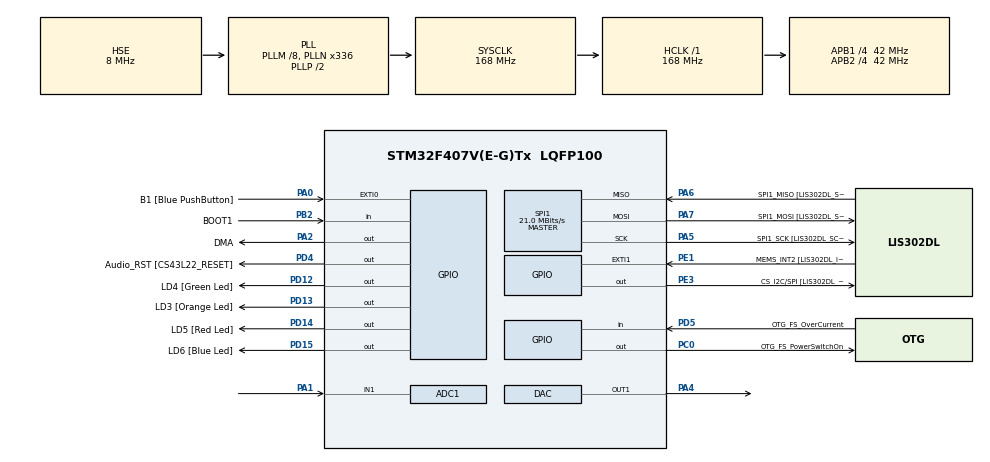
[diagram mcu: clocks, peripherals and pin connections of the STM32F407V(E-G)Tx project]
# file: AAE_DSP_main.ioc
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ADC1.Channel-0\#ChannelRegularConversion=ADC_CHANNEL_1
ADC1.ClockPrescaler=ADC_CLOCK_SYNC_PCLK_DIV2
ADC1.ContinuousConvMode=DISABLE
ADC1.DMAContinuousRequests=ENABLE
ADC1.EOCSelection=ADC_EOC_SINGLE_CONV
ADC1.ExternalTrigConv=ADC_EXTERNALTRIGCONV_T3_TRGO
ADC1.NbrOfConversionFlag=1
ADC1.Rank-0\#ChannelRegularConversion=1
ADC1.SamplingTime-0\#ChannelRegularConversion=ADC_SAMPLETIME_3CYCLES
ADC1.ScanConvMode=DISABLE
ADC1.master=1
Dma.ADC1.0.Direction=DMA_PERIPH_TO_MEMORY
Dma.ADC1.0.FIFOMode=DMA_FIFOMODE_DISABLE
Dma.ADC1.0.Instance=DMA2_Stream0
Dma.ADC1.0.MemDataAlignment=DMA_MDATAALIGN_HALFWORD
Dma.ADC1.0.MemInc=DMA_MINC_ENABLE
Dma.ADC1.0.Mode=DMA_CIRCULAR
Dma.ADC1.0.PeriphDataAlignment=DMA_PDATAALIGN_HALFWORD
Dma.ADC1.0.PeriphInc=DMA_PINC_DISABLE
Dma.ADC1.0.Priority=DMA_PRIORITY_LOW
Dma.Request0=ADC1
Mcu.Family=STM32F4
Mcu.Name=STM32F407V(E-G)Tx
Mcu.Package=LQFP100
NVIC.DMA2_Stream0_IRQn=true\:0\:0\:false\:false\:true\:false\:true
NVIC.PriorityGroup=NVIC_PRIORITYGROUP_0
NVIC.TIM2_IRQn=true\:0\:0\:false\:false\:true\:true\:true
PA0-WKUP.GPIO_Label=B1 [Blue PushButton]
PA0-WKUP.GPIO_ModeDefaultEXTI=GPIO_MODE_EVT_RISING
PA0-WKUP.GPIO_PuPd=GPIO_NOPULL
PA0-WKUP.Signal=GPXTI0
PA1.Signal=ADCx_IN1
PA10.GPIO_Label=OTG_FS_ID
PA10.GPIO_Mode=GPIO_MODE_AF_PP
PA10.GPIO_PuPd=GPIO_NOPULL
PA10.GPIO_Speed=GPIO_SPEED_FREQ_LOW
PA10.Signal=USB_OTG_FS_ID
PA11.GPIO_Label=OTG_FS_DM
PA11.GPIO_Mode=GPIO_MODE_AF_PP
PA11.GPIO_PuPd=GPIO_NOPULL
PA11.GPIO_Speed=GPIO_SPEED_FREQ_LOW
PA11.Signal=USB_OTG_FS_DM
PA12.GPIO_Label=OTG_FS_DP
PA12.GPIO_Mode=GPIO_MODE_AF_PP
PA12.GPIO_PuPd=GPIO_NOPULL
PA12.GPIO_Speed=GPIO_SPEED_FREQ_LOW
PA12.Signal=USB_OTG_FS_DP
PA13.GPIO_Label=SWDIO
PA13.Mode=Serial_Wire
PA13.Signal=SYS_JTMS-SWDIO
PA14.GPIO_Label=SWCLK
PA14.Mode=Serial_Wire
PA14.Signal=SYS_JTCK-SWCLK
PA2.GPIO_Label=DMA
PA2.Signal=GPIO_Output
PA4.Signal=COMP_DAC1_group
PA5.GPIO_Label=SPI1_SCK [LIS302DL_SCL/SPC]
PA5.GPIO_Mode=GPIO_MODE_AF_PP
PA5.GPIO_PuPd=GPIO_NOPULL
PA5.GPIO_Speed=GPIO_SPEED_FREQ_LOW
PA5.Mode=Full_Duplex_Master
PA5.Signal=SPI1_SCK
PA6.GPIO_Label=SPI1_MISO [LIS302DL_SDO]
PA6.GPIO_Mode=GPIO_MODE_AF_PP
PA6.GPIO_PuPd=GPIO_NOPULL
PA6.GPIO_Speed=GPIO_SPEED_FREQ_LOW
PA6.Mode=Full_Duplex_Master
PA6.Signal=SPI1_MISO
PA7.GPIO_Label=SPI1_MOSI [LIS302DL_SDA/SDI/SDO]
PA7.GPIO_Mode=GPIO_MODE_AF_PP
PA7.GPIO_PuPd=GPIO_NOPULL
PA7.GPIO_Speed=GPIO_SPEED_FREQ_LOW
PA7.Mode=Full_Duplex_Master
PA7.Signal=SPI1_MOSI
PA9.GPIO_Label=VBUS_FS
PA9.GPIO_Mode=GPIO_MODE_INPUT
PA9.GPIO_PuPd=GPIO_NOPULL
PA9.Signal=USB_OTG_FS_VBUS
PB10.GPIO_Label=CLK_IN [MP45DT02_CLK]
PB10.GPIO_Mode=GPIO_MODE_AF_PP
PB10.GPIO_PuPd=GPIO_NOPULL
PB10.GPIO_Speed=GPIO_SPEED_FREQ_LOW
PB10.Signal=I2S2_CK
PB2.GPIO_Label=BOOT1
PB2.GPIO_Mode=GPIO_MODE_INPUT
PB2.GPIO_PuPd=GPIO_NOPULL
PB2.Signal=GPIO_Input
PB3.GPIO_Label=SWO
PB3.Signal=SYS_JTDO-SWO
PB6.GPIO_Label=Audio_SCL [CS43L22_SCL]
PB6.GPIO_Mode=GPIO_MODE_AF_OD
PB6.GPIO_PuPd=GPIO_NOPULL
PB6.GPIO_Speed=GPIO_SPEED_FREQ_LOW
PB6.Signal=I2C1_SCL
PB9.GPIO_Label=Audio_SDA [CS43L22_SDA]
PB9.GPIO_Mode=GPIO_MODE_AF_OD
PB9.GPIO_PuPd=GPIO_NOPULL
PB9.GPIO_Speed=GPIO_SPEED_FREQ_LOW
PB9.Signal=I2C1_SDA
PC0.GPIO_Label=OTG_FS_PowerSwitchOn
PC0.GPIO_PuPd=GPIO_NOPULL
PC0.GPIO_Speed=GPIO_SPEED_FREQ_LOW
PC0.PinState=GPIO_PIN_SET
PC0.Signal=GPIO_Output
PC10.GPIO_Label=I2S3_SCK [CS43L22_SCLK]
PC10.GPIO_Mode=GPIO_MODE_AF_PP
PC10.GPIO_PuPd=GPIO_NOPULL
PC10.GPIO_Speed=GPIO_SPEED_FREQ_LOW
PC10.Signal=I2S3_CK
PC12.GPIO_Label=I2S3_SD [CS43L22_SDIN]
PC12.GPIO_Mode=GPIO_MODE_AF_PP
PC12.GPIO_PuPd=GPIO_NOPULL
PC12.GPIO_Speed=GPIO_SPEED_FREQ_LOW
PC12.Signal=I2S3_SD
PC14-OSC32_IN.GPIO_Label=PC14-OSC32_IN
PC14-OSC32_IN.Mode=LSE-External-Oscillator
PC14-OSC32_IN.Signal=RCC_OSC32_IN
PC15-OSC32_OUT.GPIO_Label=PC15-OSC32_OUT
PC15-OSC32_OUT.Mode=LSE-External-Oscillator
PC15-OSC32_OUT.Signal=RCC_OSC32_OUT
PC3.GPIO_Label=PDM_OUT [MP45DT02_DOUT]
PC3.GPIO_Mode=GPIO_MODE_AF_PP
PC3.GPIO_PuPd=GPIO_NOPULL
PC3.GPIO_Speed=GPIO_SPEED_FREQ_LOW
PC3.Signal=I2S2_SD
PC7.GPIO_Label=I2S3_MCK [CS43L22_MCLK]
PC7.GPIO_Mode=GPIO_MODE_AF_PP
PC7.GPIO_PuPd=GPIO_NOPULL
PC7.GPIO_Speed=GPIO_SPEED_FREQ_LOW
PC7.Signal=I2S3_MCK
PD12.GPIO_Label=LD4 [Green Led]
PD12.GPIO_PuPd=GPIO_NOPULL
PD12.GPIO_Speed=GPIO_SPEED_FREQ_LOW
PD12.Signal=GPIO_Output
PD13.GPIO_Label=LD3 [Orange Led]
PD13.GPIO_PuPd=GPIO_NOPULL
PD13.GPIO_Speed=GPIO_SPEED_FREQ_LOW
PD13.Signal=GPIO_Output
PD14.GPIO_Label=LD5 [Red Led]
PD14.GPIO_PuPd=GPIO_NOPULL
PD14.GPIO_Speed=GPIO_SPEED_FREQ_LOW
PD14.Signal=GPIO_Output
PD15.GPIO_Label=LD6 [Blue Led]
PD15.GPIO_PuPd=GPIO_NOPULL
PD15.GPIO_Speed=GPIO_SPEED_FREQ_LOW
PD15.Signal=GPIO_Output
PD4.GPIO_Label=Audio_RST [CS43L22_RESET]
PD4.GPIO_PuPd=GPIO_NOPULL
PD4.GPIO_Speed=GPIO_SPEED_FREQ_LOW
PD4.Signal=GPIO_Output
PD5.GPIO_Label=OTG_FS_OverCurrent
PD5.GPIO_Mode=GPIO_MODE_INPUT
PD5.GPIO_PuPd=GPIO_NOPULL
PD5.Signal=GPIO_Input
PE1.GPIO_Label=MEMS_INT2 [LIS302DL_INT2]
PE1.GPIO_ModeDefaultEXTI=GPIO_MODE_EVT_RISING
PE1.GPIO_PuPd=GPIO_NOPULL
PE1.Signal=GPXTI1
PE3.GPIO_Label=CS_I2C/SPI [LIS302DL_CS_I2C/SPI]
PE3.GPIO_PuPd=GPIO_NOPULL
PE3.GPIO_Speed=GPIO_SPEED_FREQ_LOW
PE3.Signal=GPIO_Output
PH0-OSC_IN.GPIO_Label=PH0-OSC_IN
PH0-OSC_IN.Mode=HSE-External-Oscillator
PH0-OSC_IN.Signal=RCC_OSC_IN
PH1-OSC_OUT.GPIO_Label=PH1-OSC_OUT
PH1-OSC_OUT.Mode=HSE-External-Oscillator
PH1-OSC_OUT.Signal=RCC_OSC_OUT
ProjectManager.HeapSize=0x200
ProjectManager.StackSize=0x400
ProjectManager.TargetToolchain=STM32CubeIDE
RCC.48MHZClocksFreq_Value=48000000
RCC.AHBFreq_Value=168000000
RCC.APB1CLKDivider=RCC_HCLK_DIV4
RCC.APB1Freq_Value=42000000
RCC.APB1TimFreq_Value=84000000
RCC.APB2CLKDivider=RCC_HCLK_DIV4
RCC.APB2Freq_Value=42000000
RCC.APB2TimFreq_Value=84000000
RCC.CortexFreq_Value=168000000
RCC.HCLKFreq_Value=168000000
RCC.HSE_VALUE=8000000
RCC.HSI_VALUE=16000000
RCC.PLLM=8
RCC.PLLN=336
RCC.PLLQ=7
RCC.PLLSourceVirtual=RCC_PLLSOURCE_HSE
RCC.SYSCLKFreq_VALUE=168000000
RCC.SYSCLKSource=RCC_SYSCLKSOURCE_PLLCLK
RCC.VCOOutputFreq_Value=336000000
SH.ADCx_IN1.0=ADC1_IN1,IN1
SH.COMP_DAC1_group.0=DAC_OUT1,DAC_OUT1
SPI1.BaudRatePrescaler=SPI_BAUDRATEPRESCALER_2
SPI1.BaudRatePrescaler-Full_Duplex_Master=SPI_BAUDRATEPRESCALER_2
SPI1.CalculateBaudRate=21.0 MBits/s
SPI1.CalculateBaudRate-Full_Duplex_Master=42.0 MBits/s
SPI1.Direction=SPI_DIRECTION_2LINES
SPI1.Mode=SPI_MODE_MASTER
SPI1.Mode-Full_Duplex_Master=SPI_MODE_MASTER
SPI1.VirtualType=VM_MASTER
TIM2.AutoReloadPreload=TIM_AUTORELOAD_PRELOAD_ENABLE
TIM2.Period=839
TIM2.Prescaler=0
TIM2.TIM_MasterOutputTrigger=TIM_TRGO_UPDATE
TIM3.AutoReloadPreload=TIM_AUTORELOAD_PRELOAD_ENABLE
TIM3.CounterMode=TIM_COUNTERMODE_UP
TIM3.Period=104
TIM3.Prescaler=0
TIM3.TIM_MasterOutputTrigger=TIM_TRGO_UPDATE
VP_TIM2_VS_ClockSourceINT.Mode=Internal
VP_TIM3_VS_ClockSourceINT.Mode=Internal
board=STM32F407G-DISC1

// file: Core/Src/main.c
/* USER CODE BEGIN Header */
/*
  ******************************************************************************
  * @file           : main.c
  * @brief          : Main program body
  ******************************************************************************
  * @attention
  *
  * <h2><center>&copy; Copyright (c) 2020 STMicroelectronics.
  * All rights reserved.</center></h2>
  *
  * This software component is licensed by ST under Ultimate Liberty license
  * SLA0044, the "License"; You may not use this file except in compliance with
  * the License. You may obtain a copy of the License at:
  *                             www.st.com/SLA0044
  *
  ******************************************************************************
  */

/* USER CODE END Header */
#include "main.h"

ADC_HandleTypeDef hadc1;
DMA_HandleTypeDef hdma_adc1;

DAC_HandleTypeDef hdac;

SPI_HandleTypeDef hspi1;

TIM_HandleTypeDef htim2;
TIM_HandleTypeDef htim3;

void SystemClock_Config(void);
static void MX_GPIO_Init(void);
static void MX_DMA_Init(void);
static void MX_SPI1_Init(void);
static void MX_ADC1_Init(void);
static void MX_TIM3_Init(void);
static void MX_DAC_Init(void);
static void MX_TIM2_Init(void);
/* USER CODE BEGIN PFP */

#define DDS_BUF_LEN 1024
const uint16_t ddsBuf[DDS_BUF_LEN]=
{
		2048,2060,2073,2085,2098,2110,2123,2135,
		2148,2161,2173,2186,2198,2211,2223,2236,
		2248,2261,2273,2286,2298,2311,2323,2335,
		2348,2360,2373,2385,2398,2410,2422,2435,
		2447,2459,2472,2484,2496,2508,2521,2533,
		2545,2557,2569,2581,2594,2606,2618,2630,
		2642,2654,2666,2678,2690,2702,2714,2725,
		2737,2749,2761,2773,2784,2796,2808,2819,
		2831,2843,2854,2866,2877,2889,2900,2912,
		2923,2934,2946,2957,2968,2979,2990,3002,
		3013,3024,3035,3046,3057,3068,3078,3089,
		3100,3111,3122,3132,3143,3154,3164,3175,
		3185,3195,3206,3216,3226,3237,3247,3257,
		3267,3277,3287,3297,3307,3317,3327,3337,
		3346,3356,3366,3375,3385,3394,3404,3413,
		3423,3432,3441,3450,3459,3468,3477,3486,
		3495,3504,3513,3522,3530,3539,3548,3556,
		3565,3573,3581,3590,3598,3606,3614,3622,
		3630,3638,3646,3654,3662,3669,3677,3685,
		3692,3700,3707,3714,3722,3729,3736,3743,
		3750,3757,3764,3771,3777,3784,3791,3797,
		3804,3810,3816,3823,3829,3835,3841,3847,
		3853,3859,3865,3871,3876,3882,3888,3893,
		3898,3904,3909,3914,3919,3924,3929,3934,
		3939,3944,3949,3953,3958,3962,3967,3971,
		3975,3980,3984,3988,3992,3996,3999,4003,
		4007,4010,4014,4017,4021,4024,4027,4031,
		4034,4037,4040,4042,4045,4048,4051,4053,
		4056,4058,4060,4063,4065,4067,4069,4071,
		4073,4075,4076,4078,4080,4081,4083,4084,
		4085,4086,4087,4088,4089,4090,4091,4092,
		4093,4093,4094,4094,4094,4095,4095,4095,
		4095,4095,4095,4095,4094,4094,4094,4093,
		4093,4092,4091,4090,4089,4088,4087,4086,
		4085,4084,4083,4081,4080,4078,4076,4075,
		4073,4071,4069,4067,4065,4063,4060,4058,
		4056,4053,4051,4048,4045,4042,4040,4037,
		4034,4031,4027,4024,4021,4017,4014,4010,
		4007,4003,3999,3996,3992,3988,3984,3980,
		3975,3971,3967,3962,3958,3953,3949,3944,
		3939,3934,3929,3924,3919,3914,3909,3904,
		3898,3893,3888,3882,3876,3871,3865,3859,
		3853,3847,3841,3835,3829,3823,3816,3810,
		3804,3797,3791,3784,3777,3771,3764,3757,
		3750,3743,3736,3729,3722,3714,3707,3700,
		3692,3685,3677,3669,3662,3654,3646,3638,
		3630,3622,3614,3606,3598,3590,3581,3573,
		3565,3556,3548,3539,3530,3522,3513,3504,
		3495,3486,3477,3468,3459,3450,3441,3432,
		3423,3413,3404,3394,3385,3375,3366,3356,
		3346,3337,3327,3317,3307,3297,3287,3277,
		3267,3257,3247,3237,3226,3216,3206,3195,
		3185,3175,3164,3154,3143,3132,3122,3111,
		3100,3089,3078,3068,3057,3046,3035,3024,
		3013,3002,2990,2979,2968,2957,2946,2934,
		2923,2912,2900,2889,2877,2866,2854,2843,
		2831,2819,2808,2796,2784,2773,2761,2749,
		2737,2725,2714,2702,2690,2678,2666,2654,
		2642,2630,2618,2606,2594,2581,2569,2557,
		2545,2533,2521,2508,2496,2484,2472,2459,
		2447,2435,2422,2410,2398,2385,2373,2360,
		2348,2335,2323,2311,2298,2286,2273,2261,
		2248,2236,2223,2211,2198,2186,2173,2161,
		2148,2135,2123,2110,2098,2085,2073,2060,
		2048,2035,2022,2010,1997,1985,1972,1960,
		1947,1934,1922,1909,1897,1884,1872,1859,
		1847,1834,1822,1809,1797,1784,1772,1760,
		1747,1735,1722,1710,1697,1685,1673,1660,
		1648,1636,1623,1611,1599,1587,1574,1562,
		1550,1538,1526,1514,1501,1489,1477,1465,
		1453,1441,1429,1417,1405,1393,1381,1370,
		1358,1346,1334,1322,1311,1299,1287,1276,
		1264,1252,1241,1229,1218,1206,1195,1183,
		1172,1161,1149,1138,1127,1116,1105,1093,
		1082,1071,1060,1049,1038,1027,1017,1006,
		995,984,973,963,952,941,931,920,
		910,900,889,879,869,858,848,838,
		828,818,808,798,788,778,768,758,
		749,739,729,720,710,701,691,682,
		672,663,654,645,636,627,618,609,
		600,591,582,573,565,556,547,539,
		530,522,514,505,497,489,481,473,
		465,457,449,441,433,426,418,410,
		403,395,388,381,373,366,359,352,
		345,338,331,324,318,311,304,298,
		291,285,279,272,266,260,254,248,
		242,236,230,224,219,213,207,202,
		197,191,186,181,176,171,166,161,
		156,151,146,142,137,133,128,124,
		120,115,111,107,103,99,96,92,
		88,85,81,78,74,71,68,64,
		61,58,55,53,50,47,44,42,
		39,37,35,32,30,28,26,24,
		22,20,19,17,15,14,12,11,
		10,9,8,7,6,5,4,3,
		2,2,1,1,1,0,0,0,
		0,0,0,0,1,1,1,2,
		2,3,4,5,6,7,8,9,
		10,11,12,14,15,17,19,20,
		22,24,26,28,30,32,35,37,
		39,42,44,47,50,53,55,58,
		61,64,68,71,74,78,81,85,
		88,92,96,99,103,107,111,115,
		120,124,128,133,137,142,146,151,
		156,161,166,171,176,181,186,191,
		197,202,207,213,219,224,230,236,
		242,248,254,260,266,272,279,285,
		291,298,304,311,318,324,331,338,
		345,352,359,366,373,381,388,395,
		403,410,418,426,433,441,449,457,
		465,473,481,489,497,505,514,522,
		530,539,547,556,565,573,582,591,
		600,609,618,627,636,645,654,663,
		672,682,691,701,710,720,729,739,
		749,758,768,778,788,798,808,818,
		828,838,848,858,869,879,889,900,
		910,920,931,941,952,963,973,984,
		995,1006,1017,1027,1038,1049,1060,1071,
		1082,1093,1105,1116,1127,1138,1149,1161,
		1172,1183,1195,1206,1218,1229,1241,1252,
		1264,1276,1287,1299,1311,1322,1334,1346,
		1358,1370,1381,1393,1405,1417,1429,1441,
		1453,1465,1477,1489,1501,1514,1526,1538,
		1550,1562,1574,1587,1599,1611,1623,1636,
		1648,1660,1673,1685,1697,1710,1722,1735,
		1747,1760,1772,1784,1797,1809,1822,1834,
		1847,1859,1872,1884,1897,1909,1922,1934,
		1947,1960,1972,1985,1997,2010,2022,2035,
};

#define ADC_BUFFER_LEN 16
  uint16_t adcBuffer[ADC_BUFFER_LEN];
  uint16_t adcOVS = 0;

/* USER CODE END PFP */

/* USER CODE BEGIN 0 */
#define FILTER_N 4

#define REG_SIZE FILTER_N+1

  float DenomCoeff[REG_SIZE]={1.00000,  -3.70519,   5.18030,  -3.24090,   0.76601};
  float NomCoeff[REG_SIZE]={ 0.007820,   0.000000,  -0.015640,   0.000000,   0.007820};

  //float DenomCoeff[REG_SIZE]={1.00000,  -2.74884,   2.52823,  -0.77764};
  //float NomCoeff[REG_SIZE]={0.00021961,   0.00065882,   0.00065882,   0.00021961};
  float RegX[REG_SIZE], RegY[REG_SIZE],CenterTap;

  float runIIR( float Signal){

	  int k;

	  for(k = FILTER_N;k>0;k--)RegX[k]=RegX[k-1];
	  for(k = FILTER_N;k>0;k--)RegY[k]=RegY[k-1];

	  RegX[0]=Signal;

	  CenterTap=NomCoeff[0]*RegX[0];

	  for(k=1;k<=FILTER_N;k++){

		  CenterTap+=NomCoeff[k]*RegX[k]-DenomCoeff[k]*RegY[k];

	  }

	  RegY[0]=CenterTap;
	  return RegY[0];

	  //return Signal;

  }

  void HAL_ADC_ConvCpltCallback(ADC_HandleTypeDef* hadc){

	  //HAL_GPIO_TogglePin(DMA_GPIO_Port, DMA_Pin);

  		for(int i=0; i<ADC_BUFFER_LEN; i++){
  			adcOVS += adcBuffer[i];
  		}

  		adcOVS /= ADC_BUFFER_LEN;

  		float val = adcOVS;
  		val=val-2048.0f;

  		float input =runIIR( val);
  		input+=2048.0f;
  		uint16_t toDAC= input;

  		HAL_DAC_SetValue(&hdac, DAC_CHANNEL_1, DAC_ALIGN_12B_R,toDAC);

	  HAL_GPIO_TogglePin(DMA_GPIO_Port, DMA_Pin);

  }

#define FS 100e3
#define ddsFreq 5.0e3

  uint16_t sample=0;
  float FMphaseShift=0;
 // float ddsPhaseAccu=0;

  void tim2Interrupt(void){

	  const uint8_t AMon=0;
	  const uint8_t FMon=0;

	  static float ddsPhaseAccu=0;

	  float factor= adcOVS; // ADC input
	  float ddsStep=0.0f;
	  if (AMon){

		  factor=factor/4095.0f;   // modulation signal standarization
		  ddsStep=(ddsFreq)*(DDS_BUF_LEN/FS); // dds step
		  ddsPhaseAccu+=ddsStep;

		  if(ddsPhaseAccu>=DDS_BUF_LEN){
			  ddsPhaseAccu-=DDS_BUF_LEN;
		  }

		  sample=(uint16_t)ddsPhaseAccu;
		  float tmpSample=ddsBuf[sample];

		  	  	  tmpSample=((tmpSample-2048.0f)*factor)+2048.0f; // apply amplitude
		  	  	  uint16_t val=tmpSample;

		    	HAL_DAC_SetValue(&hdac, DAC_CHANNEL_1, DAC_ALIGN_12B_R, val); // set value on DAC
	  }

	  if (FMon){

		  factor=(factor-2048.0f)/2048.0f; // data range -1 - 1
		  ddsStep=(ddsFreq+factor*1000.f)*(DDS_BUF_LEN/FS);
		  ddsPhaseAccu+=ddsStep;
		  if(ddsPhaseAccu>=DDS_BUF_LEN){
			  ddsPhaseAccu-=DDS_BUF_LEN;
		  }

		  sample=(uint16_t)ddsPhaseAccu;

		    	HAL_DAC_SetValue(&hdac, DAC_CHANNEL_1, DAC_ALIGN_12B_R,ddsBuf[sample]);
	  }

	   //FMphaseShift=1000.0f*(factor);

	  //float ddsStep=(ddsFreq+FMphaseShift)*(DDS_BUF_LEN/FS);

	  //ddsStep+=FMphaseShift;

  }

/* USER CODE END 0 */

int main(void)
{

  /* MCU Configuration--------------------------------------------------------*/

  /* Reset of all peripherals, Initializes the Flash interface and the Systick. */
  HAL_Init();

  /* Configure the system clock */
  SystemClock_Config();

  /* Initialize all configured peripherals */
  MX_GPIO_Init();
  MX_DMA_Init();
  MX_SPI1_Init();
  MX_ADC1_Init();
  MX_TIM3_Init();
  MX_DAC_Init();
  MX_TIM2_Init();
  /* USER CODE BEGIN 2 */

 // void HAL_ADC_ConvCpltCall

  /* USER CODE END 2 */

  /* Infinite loop */
  /* USER CODE BEGIN WHILE */
 HAL_TIM_Base_Start(&htim3);
 // HAL_NVIC_EnableIRQ(TIM2_IRQn);
  HAL_TIM_Base_Start_IT(&htim2);
  HAL_DAC_Start(&hdac,DAC_CHANNEL_1);
  HAL_ADC_Start_DMA(&hadc1,(uint32_t*)adcBuffer,ADC_BUFFER_LEN);

  while (1)
  {
    /* USER CODE END WHILE */

    /* USER CODE BEGIN 3 */
	  //HAL_GPIO_TogglePin(DMA_GPIO_Port, DMA_Pin);
	  HAL_Delay(20);
  }
  /* USER CODE END 3 */
}

void SystemClock_Config(void)
{
  RCC_OscInitTypeDef RCC_OscInitStruct = {0};
  RCC_ClkInitTypeDef RCC_ClkInitStruct = {0};

  /** Configure the main internal regulator output voltage
  */
  __HAL_RCC_PWR_CLK_ENABLE();
  __HAL_PWR_VOLTAGESCALING_CONFIG(PWR_REGULATOR_VOLTAGE_SCALE1);
  /** Initializes the RCC Oscillators according to the specified parameters
  * in the RCC_OscInitTypeDef structure.
  */
  RCC_OscInitStruct.OscillatorType = RCC_OSCILLATORTYPE_HSE;
  RCC_OscInitStruct.HSEState = RCC_HSE_ON;
  RCC_OscInitStruct.PLL.PLLState = RCC_PLL_ON;
  RCC_OscInitStruct.PLL.PLLSource = RCC_PLLSOURCE_HSE;
  RCC_OscInitStruct.PLL.PLLM = 8;
  RCC_OscInitStruct.PLL.PLLN = 336;
  RCC_OscInitStruct.PLL.PLLP = RCC_PLLP_DIV2;
  RCC_OscInitStruct.PLL.PLLQ = 7;
  if (HAL_RCC_OscConfig(&RCC_OscInitStruct) != HAL_OK)
  {
    Error_Handler();
  }
  /** Initializes the CPU, AHB and APB buses clocks
  */
  RCC_ClkInitStruct.ClockType = RCC_CLOCKTYPE_HCLK|RCC_CLOCKTYPE_SYSCLK
                              |RCC_CLOCKTYPE_PCLK1|RCC_CLOCKTYPE_PCLK2;
  RCC_ClkInitStruct.SYSCLKSource = RCC_SYSCLKSOURCE_PLLCLK;
  RCC_ClkInitStruct.AHBCLKDivider = RCC_SYSCLK_DIV1;
  RCC_ClkInitStruct.APB1CLKDivider = RCC_HCLK_DIV4;
  RCC_ClkInitStruct.APB2CLKDivider = RCC_HCLK_DIV4;

  if (HAL_RCC_ClockConfig(&RCC_ClkInitStruct, FLASH_LATENCY_5) != HAL_OK)
  {
    Error_Handler();
  }
}

static void MX_ADC1_Init(void)
{

  ADC_ChannelConfTypeDef sConfig = {0};

  /** Configure the global features of the ADC (Clock, Resolution, Data Alignment and number of conversion)
  */
  hadc1.Instance = ADC1;
  hadc1.Init.ClockPrescaler = ADC_CLOCK_SYNC_PCLK_DIV2;
  hadc1.Init.Resolution = ADC_RESOLUTION_12B;
  hadc1.Init.ScanConvMode = DISABLE;
  hadc1.Init.ContinuousConvMode = DISABLE;
  hadc1.Init.DiscontinuousConvMode = DISABLE;
  hadc1.Init.ExternalTrigConvEdge = ADC_EXTERNALTRIGCONVEDGE_RISING;
  hadc1.Init.ExternalTrigConv = ADC_EXTERNALTRIGCONV_T3_TRGO;
  hadc1.Init.DataAlign = ADC_DATAALIGN_RIGHT;
  hadc1.Init.NbrOfConversion = 1;
  hadc1.Init.DMAContinuousRequests = ENABLE;
  hadc1.Init.EOCSelection = ADC_EOC_SINGLE_CONV;
  if (HAL_ADC_Init(&hadc1) != HAL_OK)
  {
    Error_Handler();
  }
  /** Configure for the selected ADC regular channel its corresponding rank in the sequencer and its sample time.
  */
  sConfig.Channel = ADC_CHANNEL_1;
  sConfig.Rank = 1;
  sConfig.SamplingTime = ADC_SAMPLETIME_3CYCLES;
  if (HAL_ADC_ConfigChannel(&hadc1, &sConfig) != HAL_OK)
  {
    Error_Handler();
  }

}

static void MX_DAC_Init(void)
{

  DAC_ChannelConfTypeDef sConfig = {0};

  /** DAC Initialization
  */
  hdac.Instance = DAC;
  if (HAL_DAC_Init(&hdac) != HAL_OK)
  {
    Error_Handler();
  }
  /** DAC channel OUT1 config
  */
  sConfig.DAC_Trigger = DAC_TRIGGER_NONE;
  sConfig.DAC_OutputBuffer = DAC_OUTPUTBUFFER_ENABLE;
  if (HAL_DAC_ConfigChannel(&hdac, &sConfig, DAC_CHANNEL_1) != HAL_OK)
  {
    Error_Handler();
  }

}

static void MX_SPI1_Init(void)
{

  /* SPI1 parameter configuration*/
  hspi1.Instance = SPI1;
  hspi1.Init.Mode = SPI_MODE_MASTER;
  hspi1.Init.Direction = SPI_DIRECTION_2LINES;
  hspi1.Init.DataSize = SPI_DATASIZE_8BIT;
  hspi1.Init.CLKPolarity = SPI_POLARITY_LOW;
  hspi1.Init.CLKPhase = SPI_PHASE_1EDGE;
  hspi1.Init.NSS = SPI_NSS_SOFT;
  hspi1.Init.BaudRatePrescaler = SPI_BAUDRATEPRESCALER_2;
  hspi1.Init.FirstBit = SPI_FIRSTBIT_MSB;
  hspi1.Init.TIMode = SPI_TIMODE_DISABLE;
  hspi1.Init.CRCCalculation = SPI_CRCCALCULATION_DISABLE;
  hspi1.Init.CRCPolynomial = 10;
  if (HAL_SPI_Init(&hspi1) != HAL_OK)
  {
    Error_Handler();
  }

}

static void MX_TIM2_Init(void)
{

  TIM_ClockConfigTypeDef sClockSourceConfig = {0};
  TIM_MasterConfigTypeDef sMasterConfig = {0};

  htim2.Instance = TIM2;
  htim2.Init.Prescaler = 0;
  htim2.Init.CounterMode = TIM_COUNTERMODE_UP;
  htim2.Init.Period = 839;
  htim2.Init.ClockDivision = TIM_CLOCKDIVISION_DIV1;
  htim2.Init.AutoReloadPreload = TIM_AUTORELOAD_PRELOAD_ENABLE;
  if (HAL_TIM_Base_Init(&htim2) != HAL_OK)
  {
    Error_Handler();
  }
  sClockSourceConfig.ClockSource = TIM_CLOCKSOURCE_INTERNAL;
  if (HAL_TIM_ConfigClockSource(&htim2, &sClockSourceConfig) != HAL_OK)
  {
    Error_Handler();
  }
  sMasterConfig.MasterOutputTrigger = TIM_TRGO_UPDATE;
  sMasterConfig.MasterSlaveMode = TIM_MASTERSLAVEMODE_DISABLE;
  if (HAL_TIMEx_MasterConfigSynchronization(&htim2, &sMasterConfig) != HAL_OK)
  {
    Error_Handler();
  }

}

static void MX_TIM3_Init(void)
{

  TIM_ClockConfigTypeDef sClockSourceConfig = {0};
  TIM_MasterConfigTypeDef sMasterConfig = {0};

  htim3.Instance = TIM3;
  htim3.Init.Prescaler = 0;
  htim3.Init.CounterMode = TIM_COUNTERMODE_UP;
  htim3.Init.Period = 104;
  htim3.Init.ClockDivision = TIM_CLOCKDIVISION_DIV1;
  htim3.Init.AutoReloadPreload = TIM_AUTORELOAD_PRELOAD_ENABLE;
  if (HAL_TIM_Base_Init(&htim3) != HAL_OK)
  {
    Error_Handler();
  }
  sClockSourceConfig.ClockSource = TIM_CLOCKSOURCE_INTERNAL;
  if (HAL_TIM_ConfigClockSource(&htim3, &sClockSourceConfig) != HAL_OK)
  {
    Error_Handler();
  }
  sMasterConfig.MasterOutputTrigger = TIM_TRGO_UPDATE;
  sMasterConfig.MasterSlaveMode = TIM_MASTERSLAVEMODE_DISABLE;
  if (HAL_TIMEx_MasterConfigSynchronization(&htim3, &sMasterConfig) != HAL_OK)
  {
    Error_Handler();
  }

}

static void MX_DMA_Init(void)
{

  /* DMA controller clock enable */
  __HAL_RCC_DMA2_CLK_ENABLE();

  /* DMA interrupt init */
  /* DMA2_Stream0_IRQn interrupt configuration */
  HAL_NVIC_SetPriority(DMA2_Stream0_IRQn, 0, 0);
  HAL_NVIC_EnableIRQ(DMA2_Stream0_IRQn);

}

static void MX_GPIO_Init(void)
{
  GPIO_InitTypeDef GPIO_InitStruct = {0};

  /* GPIO Ports Clock Enable */
  __HAL_RCC_GPIOE_CLK_ENABLE();
  __HAL_RCC_GPIOC_CLK_ENABLE();
  __HAL_RCC_GPIOH_CLK_ENABLE();
  __HAL_RCC_GPIOA_CLK_ENABLE();
  __HAL_RCC_GPIOB_CLK_ENABLE();
  __HAL_RCC_GPIOD_CLK_ENABLE();

  /*Configure GPIO pin Output Level */
  HAL_GPIO_WritePin(CS_I2C_SPI_GPIO_Port, CS_I2C_SPI_Pin, GPIO_PIN_RESET);

  /*Configure GPIO pin Output Level */
  HAL_GPIO_WritePin(OTG_FS_PowerSwitchOn_GPIO_Port, OTG_FS_PowerSwitchOn_Pin, GPIO_PIN_SET);

  /*Configure GPIO pin Output Level */
  HAL_GPIO_WritePin(DMA_GPIO_Port, DMA_Pin, GPIO_PIN_RESET);

  /*Configure GPIO pin Output Level */
  HAL_GPIO_WritePin(GPIOD, LD4_Pin|LD3_Pin|LD5_Pin|LD6_Pin
                          |Audio_RST_Pin, GPIO_PIN_RESET);

  /*Configure GPIO pin : CS_I2C_SPI_Pin */
  GPIO_InitStruct.Pin = CS_I2C_SPI_Pin;
  GPIO_InitStruct.Mode = GPIO_MODE_OUTPUT_PP;
  GPIO_InitStruct.Pull = GPIO_NOPULL;
  GPIO_InitStruct.Speed = GPIO_SPEED_FREQ_LOW;
  HAL_GPIO_Init(CS_I2C_SPI_GPIO_Port, &GPIO_InitStruct);

  /*Configure GPIO pin : OTG_FS_PowerSwitchOn_Pin */
  GPIO_InitStruct.Pin = OTG_FS_PowerSwitchOn_Pin;
  GPIO_InitStruct.Mode = GPIO_MODE_OUTPUT_PP;
  GPIO_InitStruct.Pull = GPIO_NOPULL;
  GPIO_InitStruct.Speed = GPIO_SPEED_FREQ_LOW;
  HAL_GPIO_Init(OTG_FS_PowerSwitchOn_GPIO_Port, &GPIO_InitStruct);

  /*Configure GPIO pin : PDM_OUT_Pin */
  GPIO_InitStruct.Pin = PDM_OUT_Pin;
  GPIO_InitStruct.Mode = GPIO_MODE_AF_PP;
  GPIO_InitStruct.Pull = GPIO_NOPULL;
  GPIO_InitStruct.Speed = GPIO_SPEED_FREQ_LOW;
  GPIO_InitStruct.Alternate = GPIO_AF5_SPI2;
  HAL_GPIO_Init(PDM_OUT_GPIO_Port, &GPIO_InitStruct);

  /*Configure GPIO pin : B1_Pin */
  GPIO_InitStruct.Pin = B1_Pin;
  GPIO_InitStruct.Mode = GPIO_MODE_EVT_RISING;
  GPIO_InitStruct.Pull = GPIO_NOPULL;
  HAL_GPIO_Init(B1_GPIO_Port, &GPIO_InitStruct);

  /*Configure GPIO pin : DMA_Pin */
  GPIO_InitStruct.Pin = DMA_Pin;
  GPIO_InitStruct.Mode = GPIO_MODE_OUTPUT_PP;
  GPIO_InitStruct.Pull = GPIO_NOPULL;
  GPIO_InitStruct.Speed = GPIO_SPEED_FREQ_LOW;
  HAL_GPIO_Init(DMA_GPIO_Port, &GPIO_InitStruct);

  /*Configure GPIO pin : BOOT1_Pin */
  GPIO_InitStruct.Pin = BOOT1_Pin;
  GPIO_InitStruct.Mode = GPIO_MODE_INPUT;
  GPIO_InitStruct.Pull = GPIO_NOPULL;
  HAL_GPIO_Init(BOOT1_GPIO_Port, &GPIO_InitStruct);

  /*Configure GPIO pin : CLK_IN_Pin */
  GPIO_InitStruct.Pin = CLK_IN_Pin;
  GPIO_InitStruct.Mode = GPIO_MODE_AF_PP;
  GPIO_InitStruct.Pull = GPIO_NOPULL;
  GPIO_InitStruct.Speed = GPIO_SPEED_FREQ_LOW;
  GPIO_InitStruct.Alternate = GPIO_AF5_SPI2;
  HAL_GPIO_Init(CLK_IN_GPIO_Port, &GPIO_InitStruct);

  /*Configure GPIO pins : LD4_Pin LD3_Pin LD5_Pin LD6_Pin
                           Audio_RST_Pin */
  GPIO_InitStruct.Pin = LD4_Pin|LD3_Pin|LD5_Pin|LD6_Pin
                          |Audio_RST_Pin;
  GPIO_InitStruct.Mode = GPIO_MODE_OUTPUT_PP;
  GPIO_InitStruct.Pull = GPIO_NOPULL;
  GPIO_InitStruct.Speed = GPIO_SPEED_FREQ_LOW;
  HAL_GPIO_Init(GPIOD, &GPIO_InitStruct);

  /*Configure GPIO pins : I2S3_MCK_Pin I2S3_SCK_Pin I2S3_SD_Pin */
  GPIO_InitStruct.Pin = I2S3_MCK_Pin|I2S3_SCK_Pin|I2S3_SD_Pin;
  GPIO_InitStruct.Mode = GPIO_MODE_AF_PP;
  GPIO_InitStruct.Pull = GPIO_NOPULL;
  GPIO_InitStruct.Speed = GPIO_SPEED_FREQ_LOW;
  GPIO_InitStruct.Alternate = GPIO_AF6_SPI3;
  HAL_GPIO_Init(GPIOC, &GPIO_InitStruct);

  /*Configure GPIO pin : VBUS_FS_Pin */
  GPIO_InitStruct.Pin = VBUS_FS_Pin;
  GPIO_InitStruct.Mode = GPIO_MODE_INPUT;
  GPIO_InitStruct.Pull = GPIO_NOPULL;
  HAL_GPIO_Init(VBUS_FS_GPIO_Port, &GPIO_InitStruct);

  /*Configure GPIO pins : OTG_FS_ID_Pin OTG_FS_DM_Pin OTG_FS_DP_Pin */
  GPIO_InitStruct.Pin = OTG_FS_ID_Pin|OTG_FS_DM_Pin|OTG_FS_DP_Pin;
  GPIO_InitStruct.Mode = GPIO_MODE_AF_PP;
  GPIO_InitStruct.Pull = GPIO_NOPULL;
  GPIO_InitStruct.Speed = GPIO_SPEED_FREQ_LOW;
  GPIO_InitStruct.Alternate = GPIO_AF10_OTG_FS;
  HAL_GPIO_Init(GPIOA, &GPIO_InitStruct);

  /*Configure GPIO pin : OTG_FS_OverCurrent_Pin */
  GPIO_InitStruct.Pin = OTG_FS_OverCurrent_Pin;
  GPIO_InitStruct.Mode = GPIO_MODE_INPUT;
  GPIO_InitStruct.Pull = GPIO_NOPULL;
  HAL_GPIO_Init(OTG_FS_OverCurrent_GPIO_Port, &GPIO_InitStruct);

  /*Configure GPIO pins : Audio_SCL_Pin Audio_SDA_Pin */
  GPIO_InitStruct.Pin = Audio_SCL_Pin|Audio_SDA_Pin;
  GPIO_InitStruct.Mode = GPIO_MODE_AF_OD;
  GPIO_InitStruct.Pull = GPIO_PULLUP;
  GPIO_InitStruct.Speed = GPIO_SPEED_FREQ_LOW;
  GPIO_InitStruct.Alternate = GPIO_AF4_I2C1;
  HAL_GPIO_Init(GPIOB, &GPIO_InitStruct);

  /*Configure GPIO pin : MEMS_INT2_Pin */
  GPIO_InitStruct.Pin = MEMS_INT2_Pin;
  GPIO_InitStruct.Mode = GPIO_MODE_EVT_RISING;
  GPIO_InitStruct.Pull = GPIO_NOPULL;
  HAL_GPIO_Init(MEMS_INT2_GPIO_Port, &GPIO_InitStruct);

}

void Error_Handler(void)
{
}

/************************ (C) COPYRIGHT STMicroelectronics *****END OF FILE****/
